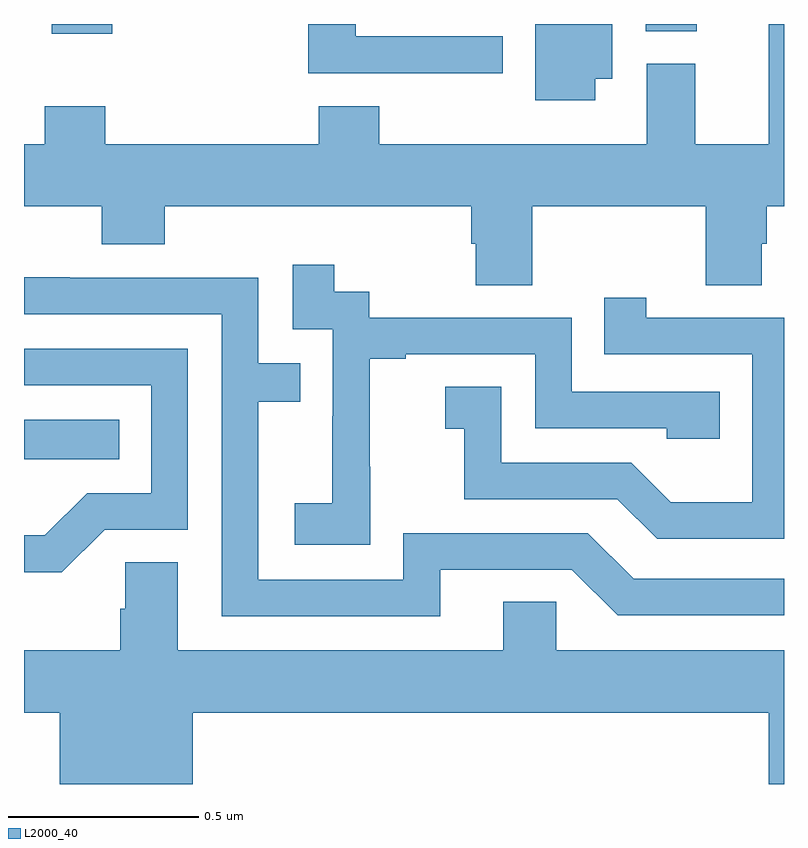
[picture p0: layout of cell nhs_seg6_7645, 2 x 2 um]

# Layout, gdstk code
import gdstk
lib = gdstk.Library(unit=1e-6, precision=1e-09)
def R(c, l, rs):  # rectangles x0, y0, x1, y1
    for r in rs: c.add(gdstk.rectangle(r[:2], r[2:], *l))
def P(c, l, *ps):  # polygons
    for p in ps: c.add(gdstk.Polygon(p, *l))
L2000_40 = (2000, 40)

nhs_seg6_7645 = lib.new_cell('nhs_seg6_7645')
R(nhs_seg6_7645, L2000_40, [(211,929.354,211.25,929.458), (211.073,930.474,211.232,930.5), (212.636,930.481,212.77,930.5)])
P(nhs_seg6_7645, L2000_40, [(211.935,930.283),(211.775,930.283),(211.775,930.184),(211.214,930.184),(211.214,930.283),(211.054,930.283),(211.054,930.184),(211,930.184),(211,930.02),(211.205,930.02),(211.205,929.921),(211.37,929.921),(211.37,930.02),(212.177,930.02),(212.177,929.922),(212.189,929.922),(212.189,929.812),(212.337,929.812),(212.337,930.02),(212.794,930.02),(212.794,929.812),(212.941,929.812),(212.941,929.922),(212.954,929.922),(212.954,930.02),(213,930.02),(213,930.5),(212.96,930.5),(212.96,930.184),(212.767,930.184),(212.767,930.396),(212.639,930.396),(212.639,930.184),(211.935,930.184)],
  [(212.26,930.468),(211.873,930.468),(211.873,930.5),(211.748,930.5),(211.748,930.371),(212.26,930.371)],
  [(212.503,930.356),(212.548,930.356),(212.548,930.5),(212.345,930.5),(212.345,930.3),(212.503,930.3)],
  [(211.911,929.335),(211.91,929.335),(211.91,929.619),(212.005,929.619),(212.005,929.631),(212.346,929.631),(212.346,929.436),(212.691,929.436),(212.691,929.409),(212.831,929.409),(212.831,929.532),(212.442,929.532),(212.442,929.727),(211.908,929.727),(211.908,929.796),(211.816,929.796),(211.816,929.866),(211.707,929.866),(211.707,929.697),(211.812,929.697),(211.812,929.468),(211.811,929.468),(211.811,929.239),(211.713,929.239),(211.713,929.129),(211.911,929.129)],
  [(212.095,929.064),(212.442,929.064),(212.562,928.944),(213,928.944),(213,929.04),(212.604,929.04),(212.484,929.16),(211.998,929.16),(211.998,929.037),(211.617,929.037),(211.617,929.506),(211.727,929.506),(211.727,929.607),(211.617,929.607),(211.617,929.832),(211.121,929.832),(211.121,929.834),(211,929.834),(211,929.736),(211.521,929.736),(211.521,928.941),(212.095,928.941)],
  [(213,929.727),(212.638,929.727),(212.638,929.779),(212.527,929.779),(212.527,929.631),(212.916,929.631),(212.916,929.242),(212.702,929.242),(212.598,929.346),(212.256,929.346),(212.256,929.545),(212.109,929.545),(212.109,929.435),(212.158,929.435),(212.158,929.25),(212.561,929.25),(212.666,929.145),(213,929.145)],
  [(211.212,929.169),(211.431,929.169),(211.431,929.646),(211,929.646),(211,929.55),(211.335,929.55),(211.335,929.265),(211.166,929.265),(211.055,929.154),(211,929.154),(211,929.057),(211.099,929.057)],
  [(212.4,928.979),(212.261,928.979),(212.261,928.852),(211.405,928.852),(211.405,929.084),(211.266,929.084),(211.266,928.961),(211.253,928.961),(211.253,928.852),(211,928.852),(211,928.688),(211.094,928.688),(211.094,928.5),(211.444,928.5),(211.444,928.688),(212.96,928.688),(212.96,928.5),(213,928.5),(213,928.852),(212.4,928.852)])

lib.write_gds('nhs_seg6_7645.gds')
